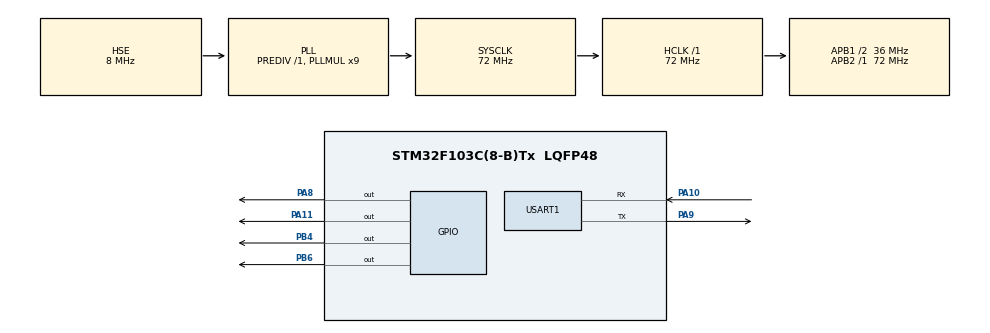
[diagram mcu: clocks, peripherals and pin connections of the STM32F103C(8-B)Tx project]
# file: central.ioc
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Mcu.Family=STM32F1
Mcu.Name=STM32F103C(8-B)Tx
Mcu.Package=LQFP48
NVIC.PriorityGroup=NVIC_PRIORITYGROUP_4
NVIC.TIM4_IRQn=true\:0\:0\:false\:false\:true\:true\:true
NVIC.USART1_IRQn=true\:0\:0\:false\:false\:true\:true\:true
PA10.Mode=Asynchronous
PA10.Signal=USART1_RX
PA11.GPIO_PuPd=GPIO_PULLDOWN
PA11.Signal=GPIO_Output
PA13.Mode=Serial_Wire
PA13.Signal=SYS_JTMS-SWDIO
PA14.Mode=Serial_Wire
PA14.Signal=SYS_JTCK-SWCLK
PA8.GPIO_PuPd=GPIO_PULLDOWN
PA8.Signal=GPIO_Output
PA9.Mode=Asynchronous
PA9.Signal=USART1_TX
PB4.Signal=GPIO_Output
PB6.GPIO_PuPd=GPIO_PULLDOWN
PB6.GPIO_Speed=GPIO_SPEED_FREQ_LOW
PB6.PinState=GPIO_PIN_RESET
PB6.Signal=GPIO_Output
PD0-OSC_IN.Mode=HSE-External-Oscillator
PD0-OSC_IN.Signal=RCC_OSC_IN
PD1-OSC_OUT.Mode=HSE-External-Oscillator
PD1-OSC_OUT.Signal=RCC_OSC_OUT
ProjectManager.HeapSize=0x200
ProjectManager.StackSize=0x400
ProjectManager.TargetToolchain=STM32CubeIDE
RCC.AHBFreq_Value=72000000
RCC.APB1CLKDivider=RCC_HCLK_DIV2
RCC.APB1Freq_Value=36000000
RCC.APB1TimFreq_Value=72000000
RCC.APB2Freq_Value=72000000
RCC.APB2TimFreq_Value=72000000
RCC.HCLKFreq_Value=72000000
RCC.PLLMUL=RCC_PLL_MUL9
RCC.PLLSourceVirtual=RCC_PLLSOURCE_HSE
RCC.SYSCLKFreq_VALUE=72000000
RCC.SYSCLKSource=RCC_SYSCLKSOURCE_PLLCLK
RCC.USBFreq_Value=72000000
TIM4.Period=10
TIM4.Prescaler=1439
USART1.Parity=PARITY_EVEN
USART1.VirtualMode=VM_ASYNC
VP_TIM4_VS_ClockSourceINT.Mode=Internal
board=custom

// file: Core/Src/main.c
/* USER CODE BEGIN Header */
/**
  ******************************************************************************
  * @file           : main.c
  * @brief          : Main program body
  ******************************************************************************
  * @attention
  *
  * <h2><center>&copy; Copyright (c) 2020 STMicroelectronics.
  * All rights reserved.</center></h2>
  *
  * This software component is licensed by ST under BSD 3-Clause license,
  * the "License"; You may not use this file except in compliance with the
  * License. You may obtain a copy of the License at:
  *                        opensource.org/licenses/BSD-3-Clause
  *
  ******************************************************************************
  */
/* USER CODE END Header */

#include "main.h"

/* USER CODE BEGIN Includes */
#include <stdbool.h>
/* USER CODE END Includes */

/* USER CODE BEGIN PD */
uint16_t contador1s = 0;

/* USER CODE END PD */

TIM_HandleTypeDef htim4;

UART_HandleTypeDef huart1;

/* USER CODE BEGIN PV */

//Different state of ATM machine
typedef enum
{
    RxNodos_State,
    Captura_Inhibicion_Tx_State,
    Espera_Estados_Rx_State,
    Reset_Tx_State
} eSystemState;

TIM_HandleTypeDef htim4;

/* USER CODE END PV */

void SystemClock_Config(void);
static void MX_GPIO_Init(void);
static void MX_USART1_UART_Init(void);
static void MX_TIM4_Init(void);

int main(void)
{

  /* MCU Configuration--------------------------------------------------------*/

  /* Reset of all peripherals, Initializes the Flash interface and the Systick. */
  HAL_Init();

  /* USER CODE BEGIN Init */
//  HAL_UART_IRQHandler(&huart1);
  /* USER CODE END Init */

  /* Configure the system clock */
  SystemClock_Config();

  /* Initialize all configured peripherals */
  MX_GPIO_Init();
  MX_USART1_UART_Init();
  MX_TIM4_Init();
  /* USER CODE BEGIN 2 */
  	eSystemState NextState;
	uint8_t RSSI_value[3] = {0,0,0};
	uint8_t estado_inhi[3] = {0,0,0};
	uint8_t cRx = 0;
	uint8_t cIn = 0;
	uint8_t err = 0;
	uint8_t cGuardar = 0;
	char in[3] = {0, 0, 0};
	char ch[3] = {0, 0, 0};

	NextState = RxNodos_State;
	HAL_GPIO_WritePin(GPIOA, GPIO_PIN_8, 0); // DE - Comunicacion RS485 - Se coloca en bajo para estar en modo recepcion
	HAL_GPIO_WritePin(GPIOA, GPIO_PIN_11, 0); // RE - Comunicacion RS485 - Se coloca en bajo para escuchar todo el tiempoc

  /* USER CODE END 2 */

  /* Infinite loop */
  /* USER CODE BEGIN WHILE */
  while (1)
  {

	  // Maquina de estados para comunicacion
	  switch(NextState){
		  case RxNodos_State:
			  in[0] = 0;
			  HAL_GPIO_WritePin(GPIOA, GPIO_PIN_8, 0);
			  HAL_UART_Receive(&huart1, (uint8_t *)in, 1, 1000);

			  if(in[0] != 0)
				  NextState = Captura_Inhibicion_Tx_State;

			  else
				  NextState = RxNodos_State;

			  break;

		  case Captura_Inhibicion_Tx_State:
			  ch[0] = 'G';
			  // Pone en modo tx
			  HAL_GPIO_WritePin(GPIOA, GPIO_PIN_8, 1);
			  HAL_UART_Transmit(&huart1, (uint8_t *)&ch, 1, 10); //Definir palabra a enviar para que todos los nodos escuchen y guarden rssi y estado
			  HAL_UART_Receive(&huart1, (uint8_t *)in, 1, 1);
			  HAL_GPIO_WritePin(GPIOA, GPIO_PIN_8, 0);

			  NextState = Espera_Estados_Rx_State;

		  case Espera_Estados_Rx_State:

			  if 	  (cRx == 0) ch[0] = 'a';
			  else if (cRx == 1) ch[0] = 'b';
			  else if (cRx == 2) ch[0] = 'c';

			  HAL_GPIO_WritePin(GPIOA, GPIO_PIN_8, 1);
			  HAL_UART_Transmit(&huart1, (uint8_t *)&ch, 1, 10);
			  HAL_UART_Receive(&huart1, (uint8_t *)in, 1, 1);
			  HAL_GPIO_WritePin(GPIOA, GPIO_PIN_8, 0);

			  err = HAL_UART_Receive(&huart1, (uint8_t *)in, 3, 100);
			  if(in[0] == 'A'){
				  if (in[1] > 120 || in[1] < 18) RSSI_value[0] = 0;
				  else RSSI_value[0] = in[1];

				  if (in[2] > 2) estado_inhi[0] = 0;
				  else estado_inhi[0] = in[2];

				  cRx++;
				  cIn = 0;
			  }
			  else if(in[0] == 'B'){
				  if (in[1] > 120 || in[1] < 18) RSSI_value[1] = 0;
				  else RSSI_value[1] = in[1];

				  if (in[2] > 2) estado_inhi[1] = 0;
				  else estado_inhi[1] = in[2];
				  cRx++;
				  cIn = 0;
			  }
			  else if(in[0] == 'C'){
				  if (in[1] > 120 || in[1] < 18) RSSI_value[2] = 0;
				  else RSSI_value[2] = in[1];
				  RSSI_value[2] = in[1];
				  if (in[2] > 2) estado_inhi[2] = 0;
				  else estado_inhi[2] = in[2];
				  cRx++;
				  cIn = 0;
			  }

			  if(err == 3)
				  cIn++;

			  if(cRx == 3){

				  cRx = 0;

				  if(cGuardar < 3 && RSSI_value[0] == 0 && RSSI_value[1] == 0 && RSSI_value[2] == 0){
					  NextState = Captura_Inhibicion_Tx_State;
					  cGuardar++;
				  }

				  else {

					  if(estado_inhi[0] || estado_inhi[1] || estado_inhi[2]) //desata alarma visual y sonora en la central
						  HAL_TIM_Base_Start_IT(&htim4);

					  ch[0] = 'F';
					  HAL_GPIO_WritePin(GPIOA, GPIO_PIN_8, 1);
					  HAL_UART_Transmit_IT(&huart1, (uint8_t *)&ch, 1);
					  HAL_UART_Receive(&huart1, (uint8_t *)in, 1, 1);
					  HAL_GPIO_WritePin(GPIOA, GPIO_PIN_8, 0);

					  estado_inhi[0] = estado_inhi[1] = estado_inhi[2] = 0;
					  RSSI_value[0] = RSSI_value[1] = RSSI_value[2] = 0;

					  cGuardar = 0;
					  NextState = RxNodos_State;
				  }

			  }

			  if (cIn >= 3){
				  cIn = 0;
				  cRx++;
			  }

			  break;
		  case Reset_Tx_State:
			  ch[0] = 'F';
			  HAL_GPIO_WritePin(GPIOA, GPIO_PIN_8, 1);
			  HAL_UART_Transmit(&huart1, (uint8_t *)&ch, 1, 10);
			  HAL_GPIO_WritePin(GPIOA, GPIO_PIN_8, 0);

			  NextState = RxNodos_State;

			  break;
		  default:
			  ch[0] = 'F';
			  HAL_GPIO_WritePin(GPIOA, GPIO_PIN_8, 1);
			  HAL_UART_Transmit(&huart1, (uint8_t *)&ch, 1, 10);
			  HAL_GPIO_WritePin(GPIOA, GPIO_PIN_8, 0);

			  NextState = RxNodos_State;
			  break;

	  };

    /* USER CODE END WHILE */

  }
}

void SystemClock_Config(void)
{
  RCC_OscInitTypeDef RCC_OscInitStruct = {0};
  RCC_ClkInitTypeDef RCC_ClkInitStruct = {0};

  /** Initializes the CPU, AHB and APB busses clocks
  */
  RCC_OscInitStruct.OscillatorType = RCC_OSCILLATORTYPE_HSE;
  RCC_OscInitStruct.HSEState = RCC_HSE_ON;
  RCC_OscInitStruct.HSEPredivValue = RCC_HSE_PREDIV_DIV1;
  RCC_OscInitStruct.HSIState = RCC_HSI_ON;
  RCC_OscInitStruct.PLL.PLLState = RCC_PLL_ON;
  RCC_OscInitStruct.PLL.PLLSource = RCC_PLLSOURCE_HSE;
  RCC_OscInitStruct.PLL.PLLMUL = RCC_PLL_MUL9;
  if (HAL_RCC_OscConfig(&RCC_OscInitStruct) != HAL_OK)
  {
    Error_Handler();
  }
  /** Initializes the CPU, AHB and APB busses clocks
  */
  RCC_ClkInitStruct.ClockType = RCC_CLOCKTYPE_HCLK|RCC_CLOCKTYPE_SYSCLK
                              |RCC_CLOCKTYPE_PCLK1|RCC_CLOCKTYPE_PCLK2;
  RCC_ClkInitStruct.SYSCLKSource = RCC_SYSCLKSOURCE_PLLCLK;
  RCC_ClkInitStruct.AHBCLKDivider = RCC_SYSCLK_DIV1;
  RCC_ClkInitStruct.APB1CLKDivider = RCC_HCLK_DIV2;
  RCC_ClkInitStruct.APB2CLKDivider = RCC_HCLK_DIV1;

  if (HAL_RCC_ClockConfig(&RCC_ClkInitStruct, FLASH_LATENCY_2) != HAL_OK)
  {
    Error_Handler();
  }
}

static void MX_TIM4_Init(void)
{

  TIM_ClockConfigTypeDef sClockSourceConfig = {0};
  TIM_MasterConfigTypeDef sMasterConfig = {0};

  htim4.Instance = TIM4;
  htim4.Init.Prescaler = 1439;
  htim4.Init.CounterMode = TIM_COUNTERMODE_UP;
  htim4.Init.Period = 10;
  htim4.Init.ClockDivision = TIM_CLOCKDIVISION_DIV1;
  htim4.Init.AutoReloadPreload = TIM_AUTORELOAD_PRELOAD_DISABLE;
  if (HAL_TIM_Base_Init(&htim4) != HAL_OK)
  {
    Error_Handler();
  }
  sClockSourceConfig.ClockSource = TIM_CLOCKSOURCE_INTERNAL;
  if (HAL_TIM_ConfigClockSource(&htim4, &sClockSourceConfig) != HAL_OK)
  {
    Error_Handler();
  }
  sMasterConfig.MasterOutputTrigger = TIM_TRGO_RESET;
  sMasterConfig.MasterSlaveMode = TIM_MASTERSLAVEMODE_DISABLE;
  if (HAL_TIMEx_MasterConfigSynchronization(&htim4, &sMasterConfig) != HAL_OK)
  {
    Error_Handler();
  }

}

static void MX_USART1_UART_Init(void)
{

  huart1.Instance = USART1;
  huart1.Init.BaudRate = 115200;
  huart1.Init.WordLength = UART_WORDLENGTH_8B;
  huart1.Init.StopBits = UART_STOPBITS_1;
  huart1.Init.Parity = UART_PARITY_EVEN;
  huart1.Init.Mode = UART_MODE_TX_RX;
  huart1.Init.HwFlowCtl = UART_HWCONTROL_NONE;
  huart1.Init.OverSampling = UART_OVERSAMPLING_16;
  if (HAL_UART_Init(&huart1) != HAL_OK)
  {
    Error_Handler();
  }

}

static void MX_GPIO_Init(void)
{
  GPIO_InitTypeDef GPIO_InitStruct = {0};

  /* GPIO Ports Clock Enable */
  __HAL_RCC_GPIOD_CLK_ENABLE();
  __HAL_RCC_GPIOA_CLK_ENABLE();
  __HAL_RCC_GPIOB_CLK_ENABLE();

  /*Configure GPIO pin Output Level */
  HAL_GPIO_WritePin(GPIOA, GPIO_PIN_8|GPIO_PIN_11, GPIO_PIN_RESET);

  /*Configure GPIO pin Output Level */
  HAL_GPIO_WritePin(GPIOB, GPIO_PIN_4|GPIO_PIN_6, GPIO_PIN_RESET);

  /*Configure GPIO pins : PA8 PA11 */
  GPIO_InitStruct.Pin = GPIO_PIN_8|GPIO_PIN_11;
  GPIO_InitStruct.Mode = GPIO_MODE_OUTPUT_PP;
  GPIO_InitStruct.Pull = GPIO_PULLDOWN;
  GPIO_InitStruct.Speed = GPIO_SPEED_FREQ_LOW;
  HAL_GPIO_Init(GPIOA, &GPIO_InitStruct);

  /*Configure GPIO pin : PB4 */
  GPIO_InitStruct.Pin = GPIO_PIN_4;
  GPIO_InitStruct.Mode = GPIO_MODE_OUTPUT_PP;
  GPIO_InitStruct.Pull = GPIO_NOPULL;
  GPIO_InitStruct.Speed = GPIO_SPEED_FREQ_LOW;
  HAL_GPIO_Init(GPIOB, &GPIO_InitStruct);

  /*Configure GPIO pin : PB6 */
  GPIO_InitStruct.Pin = GPIO_PIN_6;
  GPIO_InitStruct.Mode = GPIO_MODE_OUTPUT_PP;
  GPIO_InitStruct.Pull = GPIO_PULLDOWN;
  GPIO_InitStruct.Speed = GPIO_SPEED_FREQ_LOW;
  HAL_GPIO_Init(GPIOB, &GPIO_InitStruct);

}

/* USER CODE BEGIN 4 */

void HAL_TIM_PeriodElapsedCallback(TIM_HandleTypeDef *htim){

	if(htim->Instance == TIM4){ //chequea que la interrupción sea la del timer adecuado

		contador1s++;
		HAL_GPIO_TogglePin(GPIOB, GPIO_PIN_6);
		HAL_GPIO_WritePin(GPIOB, GPIO_PIN_4, 1);
		if(contador1s == 5000) {
			HAL_GPIO_WritePin(GPIOB, GPIO_PIN_4, 0);
			HAL_GPIO_WritePin(GPIOB, GPIO_PIN_6, 0);
			contador1s = 0;
			HAL_TIM_Base_Stop_IT(&htim4);
		}

	}

}

/* USER CODE END 4 */

void Error_Handler(void)
{
}

/************************ (C) COPYRIGHT STMicroelectronics *****END OF FILE****/
